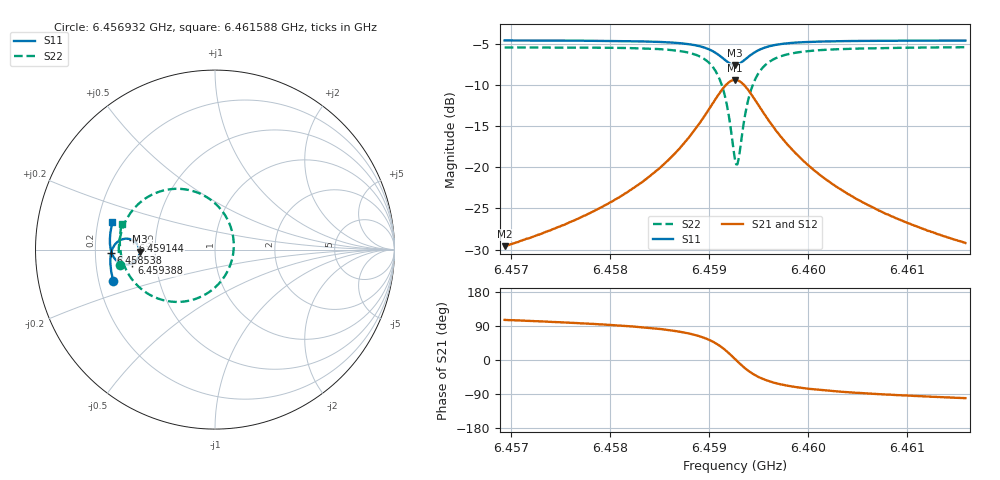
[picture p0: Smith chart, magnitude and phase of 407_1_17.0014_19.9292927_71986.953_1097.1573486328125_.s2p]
#  HZ  S  RI  R  50.00
! Rohde & Schwarz Vector Network Analyzer
! Rohde-Schwarz,ZNB20-2Port,1311601062101988,3.16
! Created: UTC 3/20/2024, 11:10:17 PM
! freq[Hz]  re:S11  im:S11  re:S21  im:S21  re:S12  im:S12  re:S22  im:S22
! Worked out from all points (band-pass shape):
!   401 points, 6.456932 GHz to 6.461588 GHz, reference 50 ohm
!   highest |S21| = -9.35 dB at 6.45926 GHz (marker M1); lowest = -29.6 dB at 6.456932 GHz (marker M2)
!   |S21| within 3 dB of the highest: 6.459027 GHz to 6.459493 GHz (465.8 kHz wide, 0.00721 % of centre)
!   lowest |S11| = -7.5 dB at 6.45926 GHz (marker M3), VSWR 2.45, Z = 20.4 - j0.549 ohm
!   |S11| at or under -10 dB: nowhere
!   |S22| runs from -19.6 to -5.4 dB; largest |S21 - S12| = 0.013
!   S11 on the Smith chart (normalised r, x): 6.456932 GHz: 0.26, -0.14; 6.458538 GHz: 0.27, -0.01; 6.459144 GHz: 0.37, +0.05; 6.459388 GHz: 0.37, -0.07; 6.461588 GHz: 0.26, +0.12
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6.4569319e9  -0.5656 -0.1759  -0.00904 0.0319  -0.00728 0.0319  -0.5298 -0.0886
6.4577118e9  -0.5801 -0.1078  -0.00576 0.0496  -0.00329 0.049  -0.536 0.00148
6.4581077e9  -0.5833 -0.0686  -0.000827 0.0668  0.00239 0.0656  -0.5299 0.0625
6.4584918e9  -0.5799 -0.0234  0.0134 0.0973  0.0174 0.0947  -0.5041 0.1462
6.4585384e9  -0.5785 -0.0171  0.0168 0.1028  0.0209 0.0998  -0.4979 0.1593
6.4587479e9  -0.5665 0.0147  0.0423 0.1342  0.0466 0.1295  -0.45 0.2305
6.4588993e9  -0.5455 0.041  0.0844 0.1642  0.0877 0.1577  -0.3725 0.2945
6.4590506e9  -0.4999 0.0606  0.1751 0.1834  0.1761 0.176  -0.207 0.3388
6.4591438e9  -0.4559 0.0509  0.2638 0.1531  0.2642 0.1471  -0.0428 0.2902
6.4591903e9  -0.4351 0.0323  0.3071 0.111  0.3084 0.1056  0.0394 0.2155
6.4592602e9  -0.4202 -0.0111  0.3404 0.0155  0.344 0.00876  0.1044 0.0389
6.4592835e9  -0.4219 -0.0268  0.3384 -0.0194  0.3422 -0.0275  0.1007 -0.027
6.4592951e9  -0.424 -0.0344  0.335 -0.0363  0.3388 -0.0453  0.0938 -0.0592
6.4593417e9  -0.4393 -0.0601  0.3071 -0.0957  0.3093 -0.1073  0.0379 -0.1709
6.4593882e9  -0.4612 -0.0762  0.2659 -0.1363  0.2651 -0.1493  -0.0456 -0.2452
6.4594814e9  -0.5039 -0.0829  0.1822 -0.1675  0.1762 -0.1787  -0.2117 -0.2916
6.4596327e9  -0.5473 -0.0625  0.0955 -0.154  0.0871 -0.1603  -0.3771 -0.2437
6.4597957e9  -0.5686 -0.0349  0.0511 -0.1268  0.0437 -0.1295  -0.4569 -0.1728
6.4600402e9  -0.5811 0.0008  0.0222 -0.0959  0.0165 -0.0965  -0.5046 -0.0914
6.4604127e9  -0.5857 0.0445  0.00571 -0.0681  0.00183 -0.0676  -0.5267 -0.00863
6.4608201e9  -0.5836 0.085  -0.00125 -0.0512  -0.00408 -0.0503  -0.5303 0.0551
6.4615885e9  -0.5712 0.1527  -0.00639 -0.0341  -0.0081 -0.0331  -0.5189 0.1448
